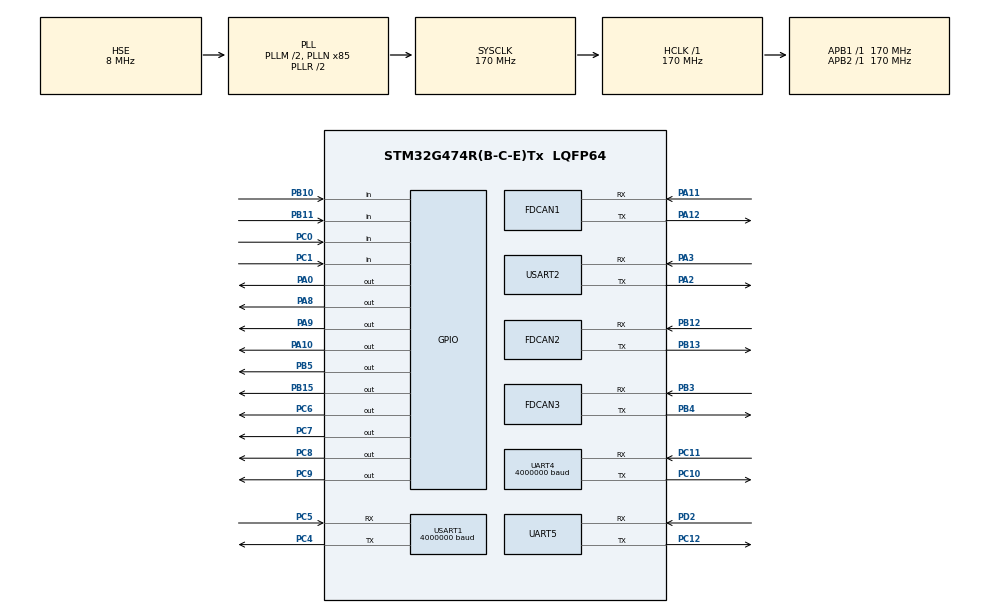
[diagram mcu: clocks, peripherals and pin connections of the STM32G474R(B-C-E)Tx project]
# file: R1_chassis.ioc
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Dma.Request0=UART5_RX
Dma.Request1=UART5_TX
Dma.Request2=USART2_RX
Dma.Request3=USART2_TX
Dma.Request4=UART4_RX
Dma.Request5=UART4_TX
Dma.Request6=USART1_RX
Dma.Request7=USART1_TX
Dma.UART4_RX.4.Direction=DMA_PERIPH_TO_MEMORY
Dma.UART4_RX.4.EventEnable=DISABLE
Dma.UART4_RX.4.Instance=DMA1_Channel5
Dma.UART4_RX.4.MemDataAlignment=DMA_MDATAALIGN_BYTE
Dma.UART4_RX.4.MemInc=DMA_MINC_ENABLE
Dma.UART4_RX.4.Mode=DMA_NORMAL
Dma.UART4_RX.4.PeriphDataAlignment=DMA_PDATAALIGN_BYTE
Dma.UART4_RX.4.PeriphInc=DMA_PINC_DISABLE
Dma.UART4_RX.4.Polarity=HAL_DMAMUX_REQ_GEN_RISING
Dma.UART4_RX.4.Priority=DMA_PRIORITY_LOW
Dma.UART4_RX.4.RequestNumber=1
Dma.UART4_RX.4.SignalID=NONE
Dma.UART4_RX.4.SyncEnable=DISABLE
Dma.UART4_RX.4.SyncPolarity=HAL_DMAMUX_SYNC_NO_EVENT
Dma.UART4_RX.4.SyncRequestNumber=1
Dma.UART4_RX.4.SyncSignalID=NONE
Dma.UART4_TX.5.Direction=DMA_MEMORY_TO_PERIPH
Dma.UART4_TX.5.EventEnable=DISABLE
Dma.UART4_TX.5.Instance=DMA1_Channel6
Dma.UART4_TX.5.MemDataAlignment=DMA_MDATAALIGN_BYTE
Dma.UART4_TX.5.MemInc=DMA_MINC_ENABLE
Dma.UART4_TX.5.Mode=DMA_NORMAL
Dma.UART4_TX.5.PeriphDataAlignment=DMA_PDATAALIGN_BYTE
Dma.UART4_TX.5.PeriphInc=DMA_PINC_DISABLE
Dma.UART4_TX.5.Polarity=HAL_DMAMUX_REQ_GEN_RISING
Dma.UART4_TX.5.Priority=DMA_PRIORITY_LOW
Dma.UART4_TX.5.RequestNumber=1
Dma.UART4_TX.5.SignalID=NONE
Dma.UART4_TX.5.SyncEnable=DISABLE
Dma.UART4_TX.5.SyncPolarity=HAL_DMAMUX_SYNC_NO_EVENT
Dma.UART4_TX.5.SyncRequestNumber=1
Dma.UART4_TX.5.SyncSignalID=NONE
Dma.UART5_RX.0.Direction=DMA_PERIPH_TO_MEMORY
Dma.UART5_RX.0.EventEnable=DISABLE
Dma.UART5_RX.0.Instance=DMA1_Channel1
Dma.UART5_RX.0.MemDataAlignment=DMA_MDATAALIGN_BYTE
Dma.UART5_RX.0.MemInc=DMA_MINC_ENABLE
Dma.UART5_RX.0.Mode=DMA_NORMAL
Dma.UART5_RX.0.PeriphDataAlignment=DMA_PDATAALIGN_BYTE
Dma.UART5_RX.0.PeriphInc=DMA_PINC_DISABLE
Dma.UART5_RX.0.Polarity=HAL_DMAMUX_REQ_GEN_RISING
Dma.UART5_RX.0.Priority=DMA_PRIORITY_LOW
Dma.UART5_RX.0.RequestNumber=1
Dma.UART5_RX.0.SignalID=NONE
Dma.UART5_RX.0.SyncEnable=DISABLE
Dma.UART5_RX.0.SyncPolarity=HAL_DMAMUX_SYNC_NO_EVENT
Dma.UART5_RX.0.SyncRequestNumber=1
Dma.UART5_RX.0.SyncSignalID=NONE
Dma.UART5_TX.1.Direction=DMA_MEMORY_TO_PERIPH
Dma.UART5_TX.1.EventEnable=DISABLE
Dma.UART5_TX.1.Instance=DMA1_Channel2
Dma.UART5_TX.1.MemDataAlignment=DMA_MDATAALIGN_BYTE
Dma.UART5_TX.1.MemInc=DMA_MINC_ENABLE
Dma.UART5_TX.1.Mode=DMA_NORMAL
Dma.UART5_TX.1.PeriphDataAlignment=DMA_PDATAALIGN_BYTE
Dma.UART5_TX.1.PeriphInc=DMA_PINC_DISABLE
Dma.UART5_TX.1.Polarity=HAL_DMAMUX_REQ_GEN_RISING
Dma.UART5_TX.1.Priority=DMA_PRIORITY_LOW
Dma.UART5_TX.1.RequestNumber=1
Dma.UART5_TX.1.SignalID=NONE
Dma.UART5_TX.1.SyncEnable=DISABLE
Dma.UART5_TX.1.SyncPolarity=HAL_DMAMUX_SYNC_NO_EVENT
Dma.UART5_TX.1.SyncRequestNumber=1
Dma.UART5_TX.1.SyncSignalID=NONE
Dma.USART1_RX.6.Direction=DMA_PERIPH_TO_MEMORY
Dma.USART1_RX.6.EventEnable=DISABLE
Dma.USART1_RX.6.Instance=DMA1_Channel7
Dma.USART1_RX.6.MemDataAlignment=DMA_MDATAALIGN_BYTE
Dma.USART1_RX.6.MemInc=DMA_MINC_ENABLE
Dma.USART1_RX.6.Mode=DMA_NORMAL
Dma.USART1_RX.6.PeriphDataAlignment=DMA_PDATAALIGN_BYTE
Dma.USART1_RX.6.PeriphInc=DMA_PINC_DISABLE
Dma.USART1_RX.6.Polarity=HAL_DMAMUX_REQ_GEN_RISING
Dma.USART1_RX.6.Priority=DMA_PRIORITY_LOW
Dma.USART1_RX.6.RequestNumber=1
Dma.USART1_RX.6.SignalID=NONE
Dma.USART1_RX.6.SyncEnable=DISABLE
Dma.USART1_RX.6.SyncPolarity=HAL_DMAMUX_SYNC_NO_EVENT
Dma.USART1_RX.6.SyncRequestNumber=1
Dma.USART1_RX.6.SyncSignalID=NONE
Dma.USART1_TX.7.Direction=DMA_MEMORY_TO_PERIPH
Dma.USART1_TX.7.EventEnable=DISABLE
Dma.USART1_TX.7.Instance=DMA1_Channel8
Dma.USART1_TX.7.MemDataAlignment=DMA_MDATAALIGN_BYTE
Dma.USART1_TX.7.MemInc=DMA_MINC_ENABLE
Dma.USART1_TX.7.Mode=DMA_NORMAL
Dma.USART1_TX.7.PeriphDataAlignment=DMA_PDATAALIGN_BYTE
Dma.USART1_TX.7.PeriphInc=DMA_PINC_DISABLE
Dma.USART1_TX.7.Polarity=HAL_DMAMUX_REQ_GEN_RISING
Dma.USART1_TX.7.Priority=DMA_PRIORITY_LOW
Dma.USART1_TX.7.RequestNumber=1
Dma.USART1_TX.7.SignalID=NONE
Dma.USART1_TX.7.SyncEnable=DISABLE
Dma.USART1_TX.7.SyncPolarity=HAL_DMAMUX_SYNC_NO_EVENT
Dma.USART1_TX.7.SyncRequestNumber=1
Dma.USART1_TX.7.SyncSignalID=NONE
Dma.USART2_RX.2.Direction=DMA_PERIPH_TO_MEMORY
Dma.USART2_RX.2.EventEnable=DISABLE
Dma.USART2_RX.2.Instance=DMA1_Channel3
Dma.USART2_RX.2.MemDataAlignment=DMA_MDATAALIGN_BYTE
Dma.USART2_RX.2.MemInc=DMA_MINC_ENABLE
Dma.USART2_RX.2.Mode=DMA_NORMAL
Dma.USART2_RX.2.PeriphDataAlignment=DMA_PDATAALIGN_BYTE
Dma.USART2_RX.2.PeriphInc=DMA_PINC_DISABLE
Dma.USART2_RX.2.Polarity=HAL_DMAMUX_REQ_GEN_RISING
Dma.USART2_RX.2.Priority=DMA_PRIORITY_LOW
Dma.USART2_RX.2.RequestNumber=1
Dma.USART2_RX.2.SignalID=NONE
Dma.USART2_RX.2.SyncEnable=DISABLE
Dma.USART2_RX.2.SyncPolarity=HAL_DMAMUX_SYNC_NO_EVENT
Dma.USART2_RX.2.SyncRequestNumber=1
Dma.USART2_RX.2.SyncSignalID=NONE
Dma.USART2_TX.3.Direction=DMA_MEMORY_TO_PERIPH
Dma.USART2_TX.3.EventEnable=DISABLE
Dma.USART2_TX.3.Instance=DMA1_Channel4
Dma.USART2_TX.3.MemDataAlignment=DMA_MDATAALIGN_BYTE
Dma.USART2_TX.3.MemInc=DMA_MINC_ENABLE
Dma.USART2_TX.3.Mode=DMA_NORMAL
Dma.USART2_TX.3.PeriphDataAlignment=DMA_PDATAALIGN_BYTE
Dma.USART2_TX.3.PeriphInc=DMA_PINC_DISABLE
Dma.USART2_TX.3.Polarity=HAL_DMAMUX_REQ_GEN_RISING
Dma.USART2_TX.3.Priority=DMA_PRIORITY_LOW
Dma.USART2_TX.3.RequestNumber=1
Dma.USART2_TX.3.SignalID=NONE
Dma.USART2_TX.3.SyncEnable=DISABLE
Dma.USART2_TX.3.SyncPolarity=HAL_DMAMUX_SYNC_NO_EVENT
Dma.USART2_TX.3.SyncRequestNumber=1
Dma.USART2_TX.3.SyncSignalID=NONE
FDCAN1.CalculateBaudRateNominal=999999
FDCAN1.CalculateTimeBitNominal=1000
FDCAN1.CalculateTimeQuantumNominal=58.82352941176471
FDCAN1.DataPrescaler=10
FDCAN1.DataTimeSeg1=12
FDCAN1.DataTimeSeg2=4
FDCAN1.NominalPrescaler=10
FDCAN1.NominalTimeSeg1=12
FDCAN1.NominalTimeSeg2=4
FDCAN2.CalculateBaudRateNominal=999999
FDCAN2.CalculateTimeBitNominal=1000
FDCAN2.CalculateTimeQuantumNominal=58.82352941176471
FDCAN2.DataPrescaler=10
FDCAN2.DataTimeSeg1=12
FDCAN2.DataTimeSeg2=4
FDCAN2.NominalPrescaler=10
FDCAN2.NominalTimeSeg1=12
FDCAN2.NominalTimeSeg2=4
FDCAN3.CalculateBaudRateNominal=999999
FDCAN3.CalculateTimeBitNominal=1000
FDCAN3.CalculateTimeQuantumNominal=58.82352941176471
FDCAN3.DataPrescaler=5
FDCAN3.DataTimeSeg1=12
FDCAN3.DataTimeSeg2=4
FDCAN3.FrameFormat=FDCAN_FRAME_FD_BRS
FDCAN3.NominalPrescaler=10
FDCAN3.NominalTimeSeg1=12
FDCAN3.NominalTimeSeg2=4
FREERTOS.Mutexes01=rc_mutex,Dynamic,NULL,Available
FREERTOS.Queues01=remote_queue,16,UartRxMessage_t,0,Dynamic,NULL,NULL;motorRxQueue,32,Motor_Rx_Queue_t,0,Dynamic,NULL,NULL;locatorQueue_x_y,16,Locator_Rx_Queue_t,0,Dynamic,NULL,NULL;locatorQueue_z_r,16,Locator_Rx_Queue_t,0,Dynamic,NULL,NULL
FREERTOS.Tasks01=Task_chassis,24,1024,StartTask_chassis,As weak,NULL,Dynamic,NULL,NULL;Task_LED,8,128,StartTask_LED,As weak,NULL,Dynamic,NULL,NULL;Task_Printf,8,256,StartTask_Printf,As weak,NULL,Dynamic,NULL,NULL;Taskcommand,8,256,StartTaskcommand,As weak,NULL,Dynamic,NULL,NULL;Task_dji,24,2048,StartTask_dji,As weak,NULL,Dynamic,NULL,NULL;Task_loc_recv,8,128,StartTask_locator_recv,As weak,NULL,Dynamic,NULL,NULL
FREERTOS.configTOTAL_HEAP_SIZE=20000
Mcu.Family=STM32G4
Mcu.Name=STM32G474R(B-C-E)Tx
Mcu.Package=LQFP64
NVIC.DMA1_Channel1_IRQn=true\:5\:0\:false\:false\:true\:true\:false\:true\:true
NVIC.DMA1_Channel2_IRQn=true\:5\:0\:false\:false\:true\:true\:false\:true\:true
NVIC.DMA1_Channel3_IRQn=true\:5\:0\:false\:false\:true\:true\:false\:true\:true
NVIC.DMA1_Channel4_IRQn=true\:5\:0\:false\:false\:true\:true\:false\:true\:true
NVIC.DMA1_Channel5_IRQn=true\:5\:0\:false\:false\:true\:true\:false\:true\:true
NVIC.DMA1_Channel6_IRQn=true\:5\:0\:false\:false\:true\:true\:false\:true\:true
NVIC.DMA1_Channel7_IRQn=true\:5\:0\:false\:false\:true\:true\:false\:true\:true
NVIC.DMA1_Channel8_IRQn=true\:5\:0\:false\:false\:true\:true\:false\:true\:true
NVIC.FDCAN1_IT0_IRQn=true\:5\:0\:false\:false\:true\:true\:true\:true\:true
NVIC.FDCAN1_IT1_IRQn=true\:5\:0\:false\:false\:true\:true\:true\:true\:true
NVIC.FDCAN2_IT0_IRQn=true\:5\:0\:false\:false\:true\:true\:true\:true\:true
NVIC.FDCAN2_IT1_IRQn=true\:5\:0\:false\:false\:true\:true\:true\:true\:true
NVIC.FDCAN3_IT0_IRQn=true\:5\:0\:false\:false\:true\:true\:true\:true\:true
NVIC.FDCAN3_IT1_IRQn=true\:5\:0\:false\:false\:true\:true\:true\:true\:true
NVIC.PriorityGroup=NVIC_PRIORITYGROUP_4
NVIC.TIM1_UP_TIM16_IRQn=true\:15\:0\:false\:false\:true\:false\:false\:true\:true
NVIC.TimeBase=TIM1_UP_TIM16_IRQn
NVIC.TimeBaseIP=TIM1
NVIC.UART4_IRQn=true\:5\:0\:false\:false\:true\:true\:true\:true\:true
NVIC.UART5_IRQn=true\:5\:0\:false\:false\:true\:true\:true\:true\:true
NVIC.USART1_IRQn=true\:5\:0\:false\:false\:true\:true\:true\:true\:true
NVIC.USART2_IRQn=true\:5\:0\:false\:false\:true\:true\:true\:true\:true
PA0.GPIO_PuPd=GPIO_PULLDOWN
PA0.Signal=GPIO_Output
PA10.Signal=GPIO_Output
PA11.Mode=FDCAN_Activate
PA11.Signal=FDCAN1_RX
PA12.Mode=FDCAN_Activate
PA12.Signal=FDCAN1_TX
PA13.Mode=Serial_Wire
PA13.Signal=SYS_JTMS-SWDIO
PA14.Mode=Serial_Wire
PA14.Signal=SYS_JTCK-SWCLK
PA2.Mode=Asynchronous
PA2.Signal=USART2_TX
PA3.Mode=Asynchronous
PA3.Signal=USART2_RX
PA8.Signal=GPIO_Output
PA9.Signal=GPIO_Output
PB10.GPIO_PuPd=GPIO_PULLUP
PB10.Signal=GPIO_Input
PB11.GPIO_PuPd=GPIO_PULLUP
PB11.Signal=GPIO_Input
PB12.Mode=FDCAN_Activate
PB12.Signal=FDCAN2_RX
PB13.Mode=FDCAN_Activate
PB13.Signal=FDCAN2_TX
PB15.Signal=GPIO_Output
PB3.Mode=FDCAN_Activate
PB3.Signal=FDCAN3_RX
PB4.Mode=FDCAN_Activate
PB4.Signal=FDCAN3_TX
PB5.GPIO_PuPd=GPIO_PULLDOWN
PB5.Signal=GPIO_Output
PC0.Signal=GPIO_Input
PC1.Signal=GPIO_Input
PC10.Mode=Asynchronous
PC10.Signal=UART4_TX
PC11.Mode=Asynchronous
PC11.Signal=UART4_RX
PC12.Mode=Asynchronous
PC12.Signal=UART5_TX
PC4.Mode=Asynchronous
PC4.Signal=USART1_TX
PC5.Mode=Asynchronous
PC5.Signal=USART1_RX
PC6.Signal=GPIO_Output
PC7.Signal=GPIO_Output
PC8.Signal=GPIO_Output
PC9.Signal=GPIO_Output
PD2.Mode=Asynchronous
PD2.Signal=UART5_RX
PF0-OSC_IN.Mode=HSE-External-Oscillator
PF0-OSC_IN.Signal=RCC_OSC_IN
PF1-OSC_OUT.Mode=HSE-External-Oscillator
PF1-OSC_OUT.Signal=RCC_OSC_OUT
ProjectManager.HeapSize=0x200
ProjectManager.StackSize=0x400
ProjectManager.TargetToolchain=CMake
RCC.ADC12Freq_Value=170000000
RCC.ADC345Freq_Value=170000000
RCC.AHBFreq_Value=170000000
RCC.APB1Freq_Value=170000000
RCC.APB1TimFreq_Value=170000000
RCC.APB2Freq_Value=170000000
RCC.APB2TimFreq_Value=170000000
RCC.CortexFreq_Value=170000000
RCC.EXTERNAL_CLOCK_VALUE=12288000
RCC.HCLKFreq_Value=170000000
RCC.HSE_VALUE=8000000
RCC.HSI48_VALUE=48000000
RCC.HSI_VALUE=16000000
RCC.LSE_VALUE=32768
RCC.PLLM=RCC_PLLM_DIV2
RCC.PLLN=85
RCC.PLLSourceVirtual=RCC_PLLSOURCE_HSE
RCC.SYSCLKFreq_VALUE=170000000
RCC.SYSCLKSource=RCC_SYSCLKSOURCE_PLLCLK
RCC.USBFreq_Value=170000000
RCC.VCOOutputFreq_Value=340000000
UART4.BaudRate=4000000
USART1.BaudRate=4000000
USART1.VirtualMode-Asynchronous=VM_ASYNC
USART2.VirtualMode-Asynchronous=VM_ASYNC
VP_FREERTOS_VS_CMSIS_V2.Mode=CMSIS_V2
VP_SYS_VS_DBSignals.Mode=DisableDeadBatterySignals
VP_SYS_VS_tim1.Mode=TIM1
board=custom

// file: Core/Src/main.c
/* USER CODE BEGIN Header */
/**
  ******************************************************************************
  * @file           : main.c
  * @brief          : Main program body
  ******************************************************************************
  * @attention
  *
  * Copyright (c) 2025 STMicroelectronics.
  * All rights reserved.
  *
  * This software is licensed under terms that can be found in the LICENSE file
  * in the root directory of this software component.
  * If no LICENSE file comes with this software, it is provided AS-IS.
  *
  ******************************************************************************
  */
/* USER CODE END Header */
#include "main.h"
#include "cmsis_os.h"
#include "dma.h"
#include "fdcan.h"
#include "usart.h"
#include "gpio.h"

/* USER CODE BEGIN Includes */
#include <stdio.h>
#include "Task_command.h"
#include "Task_dji_control.h"
#include "bsp_can.h"
#include "motor_registry.h"
#include "pid.h"
#include "SEGGER_RTT.h"
#include "path_plan.h"
#include "stm32g4xx_hal.h"  // 根据你的MCU型号选择对应的头文件
/* USER CODE END Includes */

/* USER CODE BEGIN PTD */
int __io_putchar(int ch) {
  HAL_UART_Transmit(&huart4, (uint8_t *)&ch, 1, HAL_MAX_DELAY);
  return ch;
}
/* USER CODE END PTD */

void SystemClock_Config(void);
void MX_FREERTOS_Init(void);

/* USER CODE BEGIN 0 */
volatile uint8_t RTT_BufferUp0[1024] = {0,};
volatile uint8_t RTT_BufferDown0[1024] = {0,};

/* USER CODE END 0 */

int main(void)
{

  /* MCU Configuration--------------------------------------------------------*/

  /* Reset of all peripherals, Initializes the Flash interface and the Systick. */
  HAL_Init();

  __disable_irq();

  /* Configure the system clock */
  SystemClock_Config();

  /* Initialize all configured peripherals */
  MX_GPIO_Init();
  MX_DMA_Init();
  MX_FDCAN1_Init();
  MX_FDCAN2_Init();
  MX_FDCAN3_Init();
  MX_UART4_Init();
  MX_UART5_Init();
  MX_USART2_UART_Init();
  MX_USART1_UART_Init();
  /* USER CODE BEGIN 2 */
  printf("Initial Success\r\n");

  SEGGER_RTT_Init();
  SEGGER_RTT_ConfigUpBuffer(0,                              // 通道0
                            "Buffer0Up",                    // 通道名字
                            (uint8_t*)&RTT_BufferUp0[0],    // 缓存地址
                            sizeof(RTT_BufferUp0),          // 缓存大小
                            SEGGER_RTT_MODE_NO_BLOCK_SKIP); // 非阻塞
  SEGGER_RTT_ConfigDownBuffer(0,                                // 通道0
                              "Buffer0Down",                    // 通道名字
                              (uint8_t*)&RTT_BufferDown0[0],    // 缓存地址
                              sizeof(RTT_BufferDown0),          // 缓存大小
                              SEGGER_RTT_MODE_NO_BLOCK_SKIP);   // 非阻塞

  SEGGER_RTT_SetTerminal(0);                           // 设置终端0
  SEGGER_RTT_printf(0, "OK!\n"); // 往通道0写入消息
  // SEGGER_RTT_Init();
  // SEGGER_RTT_ConfigUpBuffer(0,                              // 通道0
  //                           "Buffer0Up",                    // 通道名字
  //                           (uint8_t*)&RTT_BufferUp0[0],    // 缓存地址
  //                           sizeof(RTT_BufferUp0),          // 缓存大小
  //                           SEGGER_RTT_MODE_NO_BLOCK_SKIP); // 非阻塞
  // SEGGER_RTT_ConfigDownBuffer(0,                                // 通道0
  //                             "Buffer0Down",                    // 通道名字
  //                             (uint8_t*)&RTT_BufferDown0[0],    // 缓存地址
  //                             sizeof(RTT_BufferDown0),          // 缓存大小
  //                             SEGGER_RTT_MODE_NO_BLOCK_SKIP);   // 非阻塞
  //
  // SEGGER_RTT_SetTerminal(0);                           // 设置终端0
  // SEGGER_RTT_printf(0, "OK!\n"); // 往通道0写入消息
  /* USER CODE END 2 */

  /* Init scheduler */
  osKernelInitialize();  /* Call init function for freertos objects (in cmsis_os2.c) */
  MX_FREERTOS_Init();

  /* Start scheduler */
  osKernelStart();

  /* We should never get here as control is now taken by the scheduler */

  /* Infinite loop */
  while (1)
  {

  }
}

void SystemClock_Config(void)
{
  RCC_OscInitTypeDef RCC_OscInitStruct = {0};
  RCC_ClkInitTypeDef RCC_ClkInitStruct = {0};

  /** Configure the main internal regulator output voltage
  */
  HAL_PWREx_ControlVoltageScaling(PWR_REGULATOR_VOLTAGE_SCALE1_BOOST);

  /** Initializes the RCC Oscillators according to the specified parameters
  * in the RCC_OscInitTypeDef structure.
  */
  RCC_OscInitStruct.OscillatorType = RCC_OSCILLATORTYPE_HSE;
  RCC_OscInitStruct.HSEState = RCC_HSE_ON;
  RCC_OscInitStruct.PLL.PLLState = RCC_PLL_ON;
  RCC_OscInitStruct.PLL.PLLSource = RCC_PLLSOURCE_HSE;
  RCC_OscInitStruct.PLL.PLLM = RCC_PLLM_DIV2;
  RCC_OscInitStruct.PLL.PLLN = 85;
  RCC_OscInitStruct.PLL.PLLP = RCC_PLLP_DIV2;
  RCC_OscInitStruct.PLL.PLLQ = RCC_PLLQ_DIV2;
  RCC_OscInitStruct.PLL.PLLR = RCC_PLLR_DIV2;
  if (HAL_RCC_OscConfig(&RCC_OscInitStruct) != HAL_OK)
  {
    Error_Handler();
  }

  /** Initializes the CPU, AHB and APB buses clocks
  */
  RCC_ClkInitStruct.ClockType = RCC_CLOCKTYPE_HCLK|RCC_CLOCKTYPE_SYSCLK
                              |RCC_CLOCKTYPE_PCLK1|RCC_CLOCKTYPE_PCLK2;
  RCC_ClkInitStruct.SYSCLKSource = RCC_SYSCLKSOURCE_PLLCLK;
  RCC_ClkInitStruct.AHBCLKDivider = RCC_SYSCLK_DIV1;
  RCC_ClkInitStruct.APB1CLKDivider = RCC_HCLK_DIV1;
  RCC_ClkInitStruct.APB2CLKDivider = RCC_HCLK_DIV1;

  if (HAL_RCC_ClockConfig(&RCC_ClkInitStruct, FLASH_LATENCY_4) != HAL_OK)
  {
    Error_Handler();
  }
}

void HAL_TIM_PeriodElapsedCallback(TIM_HandleTypeDef *htim)
{
  if (htim->Instance == TIM1)
  {
    HAL_IncTick();
  }
}

void Error_Handler(void)
{
  __disable_irq();
  while (1)
  {
  }
}

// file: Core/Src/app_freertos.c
/* USER CODE BEGIN Header */
/**
  ******************************************************************************
  * File Name          : app_freertos.c
  * Description        : Code for freertos applications
  ******************************************************************************
  * @attention
  *
  * Copyright (c) 2025 STMicroelectronics.
  * All rights reserved.
  *
  * This software is licensed under terms that can be found in the LICENSE file
  * in the root directory of this software component.
  * If no LICENSE file comes with this software, it is provided AS-IS.
  *
  ******************************************************************************
  */
/* USER CODE END Header */

#include "FreeRTOS.h"
#include "task.h"
#include "main.h"
#include "cmsis_os.h"

/* USER CODE BEGIN Includes */
#include <stdio.h>
#include "Task_command.h"
#include "bsp_can.h"
#include "dji_3508_2006_motor.h"
#include "locator_driver.h"
/* USER CODE END Includes */

/* Definitions for Task_chassis */
osThreadId_t Task_chassisHandle;
const osThreadAttr_t Task_chassis_attributes = {
  .name = "Task_chassis",
  .priority = (osPriority_t) osPriorityNormal,
  .stack_size = 1024 * 4
};
/* Definitions for Task_LED */
osThreadId_t Task_LEDHandle;
const osThreadAttr_t Task_LED_attributes = {
  .name = "Task_LED",
  .priority = (osPriority_t) osPriorityLow,
  .stack_size = 128 * 4
};
/* Definitions for Task_Printf */
osThreadId_t Task_PrintfHandle;
const osThreadAttr_t Task_Printf_attributes = {
  .name = "Task_Printf",
  .priority = (osPriority_t) osPriorityLow,
  .stack_size = 256 * 4
};
/* Definitions for Taskcommand */
osThreadId_t TaskcommandHandle;
const osThreadAttr_t Taskcommand_attributes = {
  .name = "Taskcommand",
  .priority = (osPriority_t) osPriorityLow,
  .stack_size = 256 * 4
};
/* Definitions for Task_dji */
osThreadId_t Task_djiHandle;
const osThreadAttr_t Task_dji_attributes = {
  .name = "Task_dji",
  .priority = (osPriority_t) osPriorityNormal,
  .stack_size = 2048 * 4
};
/* Definitions for Task_loc_recv */
osThreadId_t Task_loc_recvHandle;
const osThreadAttr_t Task_loc_recv_attributes = {
  .name = "Task_loc_recv",
  .priority = (osPriority_t) osPriorityLow,
  .stack_size = 128 * 4
};
/* Definitions for remote_queue */
osMessageQueueId_t remote_queueHandle;
const osMessageQueueAttr_t remote_queue_attributes = {
  .name = "remote_queue"
};
/* Definitions for motorRxQueue */
osMessageQueueId_t motorRxQueueHandle;
const osMessageQueueAttr_t motorRxQueue_attributes = {
  .name = "motorRxQueue"
};
/* Definitions for locatorQueue_x_y */
osMessageQueueId_t locatorQueue_x_yHandle;
const osMessageQueueAttr_t locatorQueue_x_y_attributes = {
  .name = "locatorQueue_x_y"
};
/* Definitions for locatorQueue_z_r */
osMessageQueueId_t locatorQueue_z_rHandle;
const osMessageQueueAttr_t locatorQueue_z_r_attributes = {
  .name = "locatorQueue_z_r"
};
/* Definitions for rc_mutex */
osMutexId_t rc_mutexHandle;
const osMutexAttr_t rc_mutex_attributes = {
  .name = "rc_mutex"
};

void StartTask_chassis(void *argument);
void StartTask_LED(void *argument);
void StartTask_Printf(void *argument);
void StartTaskcommand(void *argument);
void StartTask_dji(void *argument);
void StartTask_locator_recv(void *argument);

void MX_FREERTOS_Init(void); /* (MISRA C 2004 rule 8.1) */

void MX_FREERTOS_Init(void) {
  /* Create the mutex(es) */
  /* creation of rc_mutex */
  rc_mutexHandle = osMutexNew(&rc_mutex_attributes);

  /* Create the queue(s) */
  /* creation of remote_queue */
  remote_queueHandle = osMessageQueueNew (16, sizeof(UartRxMessage_t), &remote_queue_attributes);

  /* creation of motorRxQueue */
  motorRxQueueHandle = osMessageQueueNew (32, sizeof(Motor_Rx_Queue_t), &motorRxQueue_attributes);

  /* creation of locatorQueue_x_y: legacy name, now used for 0x12 x/y/yaw data */
  locatorQueue_x_yHandle = osMessageQueueNew (16, sizeof(Locator_Rx_Queue_t), &locatorQueue_x_y_attributes);

  /* creation of locatorQueue_z_r: legacy name, now used for 0x100 laser data */
  locatorQueue_z_rHandle = osMessageQueueNew (16, sizeof(Locator_Rx_Queue_t), &locatorQueue_z_r_attributes);

  /* USER CODE BEGIN RTOS_QUEUES */
  bsp_can_init(motorRxQueueHandle, NULL);

  /* add queues, ... */
  /* USER CODE END RTOS_QUEUES */

  /* Create the thread(s) */
  /* creation of Task_chassis */
  Task_chassisHandle = osThreadNew(StartTask_chassis, NULL, &Task_chassis_attributes);

  /* creation of Task_LED */
  Task_LEDHandle = osThreadNew(StartTask_LED, NULL, &Task_LED_attributes);

  /* creation of Task_Printf */
  Task_PrintfHandle = osThreadNew(StartTask_Printf, NULL, &Task_Printf_attributes);

  /* creation of Taskcommand */
  TaskcommandHandle = osThreadNew(StartTaskcommand, NULL, &Taskcommand_attributes);

  /* creation of Task_dji */
  Task_djiHandle = osThreadNew(StartTask_dji, NULL, &Task_dji_attributes);

  /* creation of Task_loc_recv */
  Task_loc_recvHandle = osThreadNew(StartTask_locator_recv, NULL, &Task_loc_recv_attributes);

}

__weak void StartTask_chassis(void *argument)
{
  for(;;)
  {
    osDelay(1);
  }
}

__weak void StartTask_LED(void *argument)
{
  for(;;)
  {
    osDelay(1);
  }
}

__weak void StartTask_Printf(void *argument)
{
  for(;;)
  {
    osDelay(1);
  }
}

__weak void StartTaskcommand(void *argument)
{
  for(;;)
  {
    osDelay(1);
  }
}

__weak void StartTask_dji(void *argument)
{
  for(;;)
  {
    osDelay(1);
  }
}

__weak void StartTask_locator_recv(void *argument)
{
  for(;;)
  {
    osDelay(1);
  }
}
